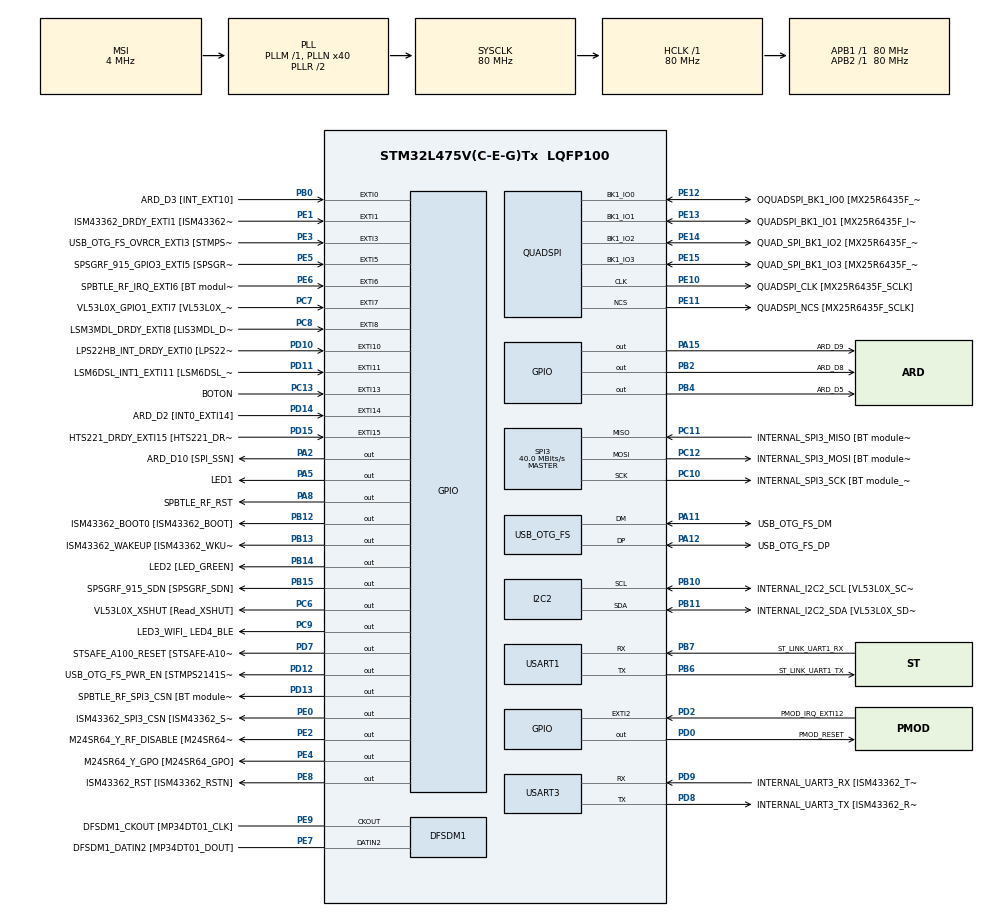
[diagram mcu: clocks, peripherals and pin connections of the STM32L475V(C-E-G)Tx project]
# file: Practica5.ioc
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FREERTOS.Queues01=print_queue,10,uintptr_t,0,Dynamic,NULL,NULL;receive_queue,3,uint8_t,0,Dynamic,NULL,NULL
FREERTOS.Tasks01=RTC_set,24,256,RTC_set_func,Default,NULL,Dynamic,NULL,NULL;readAccel,24,512,readAccel_func,Default,NULL,Dynamic,NULL,NULL;printTask,24,128,printTask_func,Default,NULL,Dynamic,NULL,NULL;tarea_UART,24,128,tarea_UART_func,Default,NULL,Dynamic,NULL,NULL;temporizador,24,128,temporizador_func,Default,NULL,Dynamic,NULL,NULL;sendMQTT,24,512,sendMQTT_func,Default,NULL,Dynamic,NULL,NULL;wifiStartTask,24,256,wifiStartTask_func,Default,NULL,Dynamic,NULL,NULL;temp_sub,24,128,temp_sub_func,Default,NULL,Dynamic,NULL,NULL
FREERTOS.configGENERATE_RUN_TIME_STATS=1
FREERTOS.configTOTAL_HEAP_SIZE=11000
FREERTOS.configUSE_NEWLIB_REENTRANT=1
FREERTOS.configUSE_STATS_FORMATTING_FUNCTIONS=1
Mcu.Family=STM32L4
Mcu.Name=STM32L475V(C-E-G)Tx
Mcu.Package=LQFP100
NVIC.EXTI15_10_IRQn=true\:5\:0\:false\:false\:true\:true\:true\:true\:true
NVIC.EXTI1_IRQn=true\:5\:0\:true\:false\:true\:false\:true\:true\:true
NVIC.EXTI9_5_IRQn=true\:5\:0\:false\:false\:true\:true\:true\:true\:true
NVIC.PriorityGroup=NVIC_PRIORITYGROUP_4
NVIC.SPI3_IRQn=true\:5\:0\:true\:false\:false\:false\:true\:true\:true
NVIC.TIM6_DAC_IRQn=true\:15\:0\:false\:false\:true\:false\:false\:true\:true
NVIC.TIM7_IRQn=true\:5\:0\:false\:false\:true\:true\:true\:true\:true
NVIC.TimeBase=TIM6_DAC_IRQn
NVIC.TimeBaseIP=TIM6
NVIC.USART1_IRQn=true\:5\:0\:false\:false\:true\:true\:true\:true\:true
PA0.GPIO_Label=ARD_D1 [UART4_TX]
PA0.Signal=UART4_TX
PA1.GPIO_Label=ARD_D0 [UART4_RX]
PA1.Signal=UART4_RX
PA10.GPIO_Label=USB_OTG_FS_ID
PA10.Signal=USB_OTG_FS_ID
PA11.GPIO_Label=USB_OTG_FS_DM
PA11.Mode=Device_Only
PA11.Signal=USB_OTG_FS_DM
PA12.GPIO_Label=USB_OTG_FS_DP
PA12.Mode=Device_Only
PA12.Signal=USB_OTG_FS_DP
PA13\ (JTMS-SWDIO).GPIO_Label=SYS_JTMS_SWDIO
PA13\ (JTMS-SWDIO).Mode=Trace_Asynchronous_SW
PA13\ (JTMS-SWDIO).Signal=SYS_JTMS-SWDIO
PA14\ (JTCK-SWCLK).GPIO_Label=SYS_JTCK_SWCLK
PA14\ (JTCK-SWCLK).Mode=Trace_Asynchronous_SW
PA14\ (JTCK-SWCLK).Signal=SYS_JTCK-SWCLK
PA15\ (JTDI).GPIO_Label=ARD_D9
PA15\ (JTDI).Signal=GPIO_Output
PA2.GPIO_Label=ARD_D10 [SPI_SSN]
PA2.Signal=GPIO_Output
PA3.GPIO_Label=ARD_D4
PA3.Signal=S_TIM2_CH4
PA4.GPIO_Label=ARD_D7
PA4.Signal=ADCx_IN9
PA5.GPIO_Label=LED1
PA5.Signal=GPIO_Output
PA6.GPIO_Label=ARD_D12 [SPI1_MISO]
PA6.Signal=SPI1_MISO
PA7.GPIO_Label=ARD_D11 [SPI1_MOSI]
PA7.Signal=SPI1_MOSI
PA8.GPIO_Label=SPBTLE_RF_RST
PA8.Signal=GPIO_Output
PA9.GPIO_Label=USB_OTG_FS_VBUS [STMPS2141STR_OUT]
PA9.Signal=USB_OTG_FS_VBUS
PB0.GPIO_Label=ARD_D3 [INT_EXT10]
PB0.Signal=GPXTI0
PB1.GPIO_Label=ARD_D6 [ADC1_IN6]
PB1.Signal=ADCx_IN16
PB10.GPIO_Label=INTERNAL_I2C2_SCL [VL53L0X_SCL]
PB10.GPIO_Pu=GPIO_PULLUP
PB10.Mode=I2C
PB10.Signal=I2C2_SCL
PB11.GPIO_Label=INTERNAL_I2C2_SDA [VL53L0X_SDA]
PB11.GPIO_Pu=GPIO_PULLUP
PB11.Mode=I2C
PB11.Signal=I2C2_SDA
PB12.GPIO_Label=ISM43362_BOOT0 [ISM43362_BOOT]
PB12.Signal=GPIO_Output
PB13.GPIO_Label=ISM43362_WAKEUP [ISM43362_WKUP]
PB13.Signal=GPIO_Output
PB14.GPIO_Label=LED2 [LED_GREEN]
PB14.Signal=GPIO_Output
PB15.GPIO_Label=SPSGRF_915_SDN [SPSGRF_SDN]
PB15.Signal=GPIO_Output
PB2.GPIO_Label=ARD_D8
PB2.Signal=GPIO_Output
PB3\ (JTDO-TRACESWO).GPIO_Label=SYS_JTD0_SWO
PB3\ (JTDO-TRACESWO).Mode=Trace_Asynchronous_SW
PB3\ (JTDO-TRACESWO).Signal=SYS_JTDO-SWO
PB4\ (NJTRST).GPIO_Label=ARD_D5
PB4\ (NJTRST).Signal=GPIO_Output
PB6.GPIO_Label=ST_LINK_UART1_TX
PB6.Mode=Asynchronous
PB6.Signal=USART1_TX
PB7.GPIO_Label=ST_LINK_UART1_RX
PB7.Mode=Asynchronous
PB7.Signal=USART1_RX
PB8.GPIO_Label=ARD_D15 [I2C1_SCL]
PB8.Signal=I2C1_SCL
PB9.GPIO_Label=ARD_D14 [I2C1_SDA]
PB9.Signal=I2C1_SDA
PC0.GPIO_Label=ARD_A5 [ADC]
PC0.Signal=ADCx_IN1
PC1.GPIO_Label=ARD_A4 [ADC]
PC1.Signal=ADCx_IN2
PC10.GPIO_Label=INTERNAL_SPI3_SCK [BT module_SPI_SCLK] [ISM43362_SCK]
PC10.Mode=Full_Duplex_Master
PC10.Signal=SPI3_SCK
PC11.GPIO_Label=INTERNAL_SPI3_MISO [BT module_SPI_MISO] [ISM43362_MISO]
PC11.Mode=Full_Duplex_Master
PC11.Signal=SPI3_MISO
PC12.GPIO_Label=INTERNAL_SPI3_MOSI [BT module_SPI_MOSI] [ISM43362_MOSI]
PC12.Mode=Full_Duplex_Master
PC12.Signal=SPI3_MOSI
PC13.GPIO_Label=BOTON
PC13.Signal=GPXTI13
PC14-OSC32_IN\ (PC14).Mode=LSE-External-Oscillator
PC14-OSC32_IN\ (PC14).Signal=RCC_OSC32_IN
PC15-OSC32_OUT\ (PC15).Mode=LSE-External-Oscillator
PC15-OSC32_OUT\ (PC15).Signal=RCC_OSC32_OUT
PC2.GPIO_Label=ARD_A3 [ADC]
PC2.Signal=ADCx_IN3
PC3.GPIO_Label=ARD_A2 [ADC]
PC3.Signal=ADCx_IN4
PC4.GPIO_Label=ARD_A1 [ADC]
PC4.Signal=ADCx_IN13
PC5.GPIO_Label=ARD_A0 [ADC]
PC5.Signal=ADCx_IN14
PC6.GPIO_Label=VL53L0X_XSHUT [Read_XSHUT]
PC6.Signal=GPIO_Output
PC7.GPIO_Label=VL53L0X_GPIO1_EXTI7 [VL53L0X_GPIO1]
PC7.Signal=GPXTI7
PC8.GPIO_Label=LSM3MDL_DRDY_EXTI8 [LIS3MDL_DRDY]
PC8.Signal=GPXTI8
PC9.GPIO_Label=LED3_WIFI_ LED4_BLE
PC9.Signal=GPIO_Output
PD0.GPIO_Label=PMOD_RESET
PD0.Signal=GPIO_Output
PD1.GPIO_Label=PMOD_SPI2_SCK
PD1.Signal=SPI2_SCK
PD10.GPIO_Label=LPS22HB_INT_DRDY_EXTI0 [LPS22HB_INT_DRDY] 
PD10.Signal=GPXTI10
PD11.GPIO_Label=LSM6DSL_INT1_EXTI11 [LSM6DSL_INT1]
PD11.Signal=GPXTI11
PD12.GPIO_Label=USB_OTG_FS_PWR_EN [STMPS2141STR_EN]
PD12.Signal=GPIO_Output
PD13.GPIO_Label=SPBTLE_RF_SPI3_CSN [BT module_SPI_CS]
PD13.PinState=GPIO_PIN_SET
PD13.Signal=GPIO_Output
PD14.GPIO_Label=ARD_D2 [INT0_EXTI14]
PD14.Signal=GPXTI14
PD15.GPIO_Label=HTS221_DRDY_EXTI15 [HTS221_DRDY]
PD15.Signal=GPXTI15
PD2.GPIO_Label=PMOD_IRQ_EXTI12
PD2.Signal=GPXTI2
PD3.GPIO_Label=PMOD_UART2_CTS
PD3.Signal=USART2_CTS
PD4.GPIO_Label=PMOD_UART2_RTS
PD4.Signal=USART2_RTS
PD5.GPIO_Label=PMOD_UART2_TX
PD5.Signal=USART2_TX
PD6.GPIO_Label=PMOD_UART2_RX
PD6.Signal=USART2_RX
PD7.GPIO_Label=STSAFE_A100_RESET [STSAFE-A100_RESET]
PD7.Signal=GPIO_Output
PD8.GPIO_Label=INTERNAL_UART3_TX [ISM43362_RX]
PD8.Mode=Asynchronous
PD8.Signal=USART3_TX
PD9.GPIO_Label=INTERNAL_UART3_RX [ISM43362_TX]
PD9.Mode=Asynchronous
PD9.Signal=USART3_RX
PE0.GPIO_Label=ISM43362_SPI3_CSN [ISM43362_SSN]
PE0.PinState=GPIO_PIN_SET
PE0.Signal=GPIO_Output
PE1.GPIO_Label=ISM43362_DRDY_EXTI1 [ISM43362_DATARDY]
PE1.Signal=GPXTI1
PE10.GPIO_Label=QUADSPI_CLK [MX25R6435F_SCLK]
PE10.Mode=Single Bank
PE10.Signal=QUADSPI_CLK
PE11.GPIO_Label=QUADSPI_NCS [MX25R6435F_SCLK]
PE11.Mode=Single Bank
PE11.Signal=QUADSPI_NCS
PE12.GPIO_Label=OQUADSPI_BK1_IO0 [MX25R6435F_IO0]
PE12.Mode=Single Bank
PE12.Signal=QUADSPI_BK1_IO0
PE13.GPIO_Label=QUADSPI_BK1_IO1 [MX25R6435F_IO1]
PE13.Mode=Single Bank
PE13.Signal=QUADSPI_BK1_IO1
PE14.GPIO_Label=QUAD_SPI_BK1_IO2 [MX25R6435F_IO2]
PE14.Mode=Single Bank
PE14.Signal=QUADSPI_BK1_IO2
PE15.GPIO_Label=QUAD_SPI_BK1_IO3 [MX25R6435F_IO3]
PE15.Mode=Single Bank
PE15.Signal=QUADSPI_BK1_IO3
PE2.GPIO_Label=M24SR64_Y_RF_DISABLE [M24SR64_RFDIS]
PE2.Signal=GPIO_Output
PE3.GPIO_Label=USB_OTG_FS_OVRCR_EXTI3 [STMPS2141STR_FAULT]
PE3.Signal=GPXTI3
PE4.GPIO_Label=M24SR64_Y_GPO [M24SR64_GPO]
PE4.Signal=GPIO_Output
PE5.GPIO_Label=SPSGRF_915_GPIO3_EXTI5 [SPSGRF_GPIO_3]
PE5.Signal=GPXTI5
PE6.GPIO_Label=SPBTLE_RF_IRQ_EXTI6 [BT module_SPI_IRQ]
PE6.Signal=GPXTI6
PE7.GPIO_Label=DFSDM1_DATIN2 [MP34DT01_DOUT]
PE7.Signal=S_DATAIN2DFSDM1
PE8.GPIO_Label=ISM43362_RST [ISM43362_RSTN]
PE8.Signal=GPIO_Output
PE9.GPIO_Label=DFSDM1_CKOUT [MP34DT01_CLK]
PE9.Signal=S_CKOUTDFSDM1
ProjectManager.HeapSize=0x200
ProjectManager.StackSize=0x400
ProjectManager.TargetToolchain=STM32CubeIDE
QUADSPI.ClockPrescaler=2
QUADSPI.FifoThreshold=4
QUADSPI.FlashSize=23
QUADSPI.SampleShifting=QSPI_SAMPLE_SHIFTING_HALFCYCLE
RCC.ADCFreq_Value=48000000
RCC.AHBFreq_Value=80000000
RCC.APB1Freq_Value=80000000
RCC.APB1TimFreq_Value=80000000
RCC.APB2Freq_Value=80000000
RCC.APB2TimFreq_Value=80000000
RCC.CortexFreq_Value=80000000
RCC.HCLKFreq_Value=80000000
RCC.HSE_VALUE=8000000
RCC.HSI_VALUE=16000000
RCC.MSI_VALUE=4000000
RCC.PLLN=40
RCC.PLLSAI1N=24
RCC.SYSCLKFreq_VALUE=80000000
RCC.SYSCLKSource=RCC_SYSCLKSOURCE_PLLCLK
RCC.USBFreq_Value=48000000
RCC.VCOOutputFreq_Value=160000000
RTC.Format=RTC_FORMAT_BIN
RTC.Hours=13
RTC.Minutes=1
SH.ADCx_IN1.0=ADC1_IN1
SH.ADCx_IN13.0=ADC1_IN13
SH.ADCx_IN14.0=ADC1_IN14
SH.ADCx_IN16.0=ADC1_IN16
SH.ADCx_IN2.0=ADC1_IN2
SH.ADCx_IN3.0=ADC1_IN3
SH.ADCx_IN4.0=ADC1_IN4
SH.ADCx_IN9.0=ADC1_IN9
SH.S_CKOUTDFSDM1.0=DFSDM1_CKOUT,CKOUT
SH.S_CKOUTDFSDM1.1=DFSDM1_CKOUT,PDM_SPI_Input_from_ch12_and_Internal_Clock
SH.S_DATAIN2DFSDM1.0=DFSDM1_DATIN2,PDM_SPI_Input_from_ch12_and_Internal_Clock
SH.S_TIM2_CH4.0=TIM2_CH4
SPI3.CalculateBaudRate=40.0 MBits/s
SPI3.Direction=SPI_DIRECTION_2LINES
SPI3.Mode=SPI_MODE_MASTER
SPI3.VirtualType=VM_MASTER
TIM7.Period=799
USART1.VirtualMode-Asynchronous=VM_ASYNC
USART3.VirtualMode-Asynchronous=VM_ASYNC
USB_OTG_FS.VirtualMode=Device_Only
VP_FREERTOS_VS_CMSIS_V2.Mode=CMSIS_V2
VP_RTC_VS_RTC_Activate.Mode=RTC_Enabled
VP_RTC_VS_RTC_Calendar.Mode=RTC_Calendar
VP_SYS_VS_tim6.Mode=TIM6
VP_TIM7_VS_ClockSourceINT.Mode=Enable_Timer
board=B-L475E-IOT01A2

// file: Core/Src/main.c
/* USER CODE BEGIN Header */
/**
  ******************************************************************************
  * @file           : main.c
  * @brief          : Main program body
  ******************************************************************************
  * @attention
  *
  * Copyright (c) 2022 STMicroelectronics.
  * All rights reserved.
  *
  * This software is licensed under terms that can be found in the LICENSE file
  * in the root directory of this software component.
  * If no LICENSE file comes with this software, it is provided AS-IS.
  *
  ******************************************************************************
  */
/* USER CODE END Header */
#include "main.h"
#include "cmsis_os.h"

/* USER CODE BEGIN Includes */
#include <stdio.h>
#include <stdbool.h>
#include "stm32l475e_iot01.h"
#include <math.h>
#include <string.h>
#include "stm32l475e_iot01_accelero.h"

#include "es_wifi.h"
#include "wifi.h"

#include "core_mqtt.h"
#include "mqtt_priv.h"
#include "timers.h"

/* USER CODE END Includes */

/* USER CODE BEGIN PM */
#define MODO_NORMAL 0x0001U
#define MODO_CONTINUO 0x0002U
#define TIMER_MQTT 0x0004U

#define MUESTRAS_NORMAL 64
#define MUESTRAS_CONTINUO 1024

#define SSID     "DIGIFIBRA-HAeH"
#define PASSWORD "uxHXKubx5D"
#define WIFISECURITY WIFI_ECN_WPA2_PSK
//#define WIFISECURITY WIFI_ECN_OPEN
#define SOCKET 0
#define SOCKETSUBS 1
#define WIFI_READ_TIMEOUT 10000
#define WIFI_WRITE_TIMEOUT 0
/* USER CODE END PM */

DFSDM_Channel_HandleTypeDef hdfsdm1_channel1;

I2C_HandleTypeDef hi2c2;

QSPI_HandleTypeDef hqspi;

RTC_HandleTypeDef hrtc;

SPI_HandleTypeDef hspi3;

TIM_HandleTypeDef htim7;

UART_HandleTypeDef huart1;
UART_HandleTypeDef huart3;

PCD_HandleTypeDef hpcd_USB_OTG_FS;

/* Definitions for RTC_set */
osThreadId_t RTC_setHandle;
const osThreadAttr_t RTC_set_attributes = {
  .name = "RTC_set",
  .stack_size = 256 * 4,
  .priority = (osPriority_t) osPriorityNormal,
};
/* Definitions for readAccel */
osThreadId_t readAccelHandle;
const osThreadAttr_t readAccel_attributes = {
  .name = "readAccel",
  .stack_size = 512 * 4,
  .priority = (osPriority_t) osPriorityNormal,
};
/* Definitions for printTask */
osThreadId_t printTaskHandle;
const osThreadAttr_t printTask_attributes = {
  .name = "printTask",
  .stack_size = 128 * 4,
  .priority = (osPriority_t) osPriorityNormal,
};
/* Definitions for tarea_UART */
osThreadId_t tarea_UARTHandle;
const osThreadAttr_t tarea_UART_attributes = {
  .name = "tarea_UART",
  .stack_size = 128 * 4,
  .priority = (osPriority_t) osPriorityNormal,
};
/* Definitions for temporizador */
osThreadId_t temporizadorHandle;
const osThreadAttr_t temporizador_attributes = {
  .name = "temporizador",
  .stack_size = 128 * 4,
  .priority = (osPriority_t) osPriorityNormal,
};
/* Definitions for sendMQTT */
osThreadId_t sendMQTTHandle;
const osThreadAttr_t sendMQTT_attributes = {
  .name = "sendMQTT",
  .stack_size = 512 * 4,
  .priority = (osPriority_t) osPriorityNormal,
};
/* Definitions for wifiStartTask */
osThreadId_t wifiStartTaskHandle;
const osThreadAttr_t wifiStartTask_attributes = {
  .name = "wifiStartTask",
  .stack_size = 256 * 4,
  .priority = (osPriority_t) osPriorityNormal,
};
/* Definitions for temp_sub */
osThreadId_t temp_subHandle;
const osThreadAttr_t temp_sub_attributes = {
  .name = "temp_sub",
  .stack_size = 128 * 4,
  .priority = (osPriority_t) osPriorityNormal,
};
/* Definitions for print_queue */
osMessageQueueId_t print_queueHandle;
const osMessageQueueAttr_t print_queue_attributes = {
  .name = "print_queue"
};
/* Definitions for receive_queue */
osMessageQueueId_t receive_queueHandle;
const osMessageQueueAttr_t receive_queue_attributes = {
  .name = "receive_queue"
};
/* USER CODE BEGIN PV */
RTC_DateTypeDef GetDate; //Estructura para fijar/leer fecha
RTC_TimeTypeDef GetTime; //Estructura para fijar/leer hora

ACCELERO_StatusTypeDef status_acc;

volatile extern bool modo_continuo;

extern  SPI_HandleTypeDef hspi;
static  uint8_t  IP_Addr[4];

/* USER CODE END PV */

void SystemClock_Config(void);
static void MX_GPIO_Init(void);
static void MX_DFSDM1_Init(void);
static void MX_I2C2_Init(void);
static void MX_QUADSPI_Init(void);
static void MX_SPI3_Init(void);
static void MX_USART1_UART_Init(void);
static void MX_USART3_UART_Init(void);
static void MX_USB_OTG_FS_PCD_Init(void);
static void MX_TIM7_Init(void);
static void MX_RTC_Init(void);
void RTC_set_func(void *argument);
void readAccel_func(void *argument);
void printTask_func(void *argument);
void tarea_UART_func(void *argument);
void temporizador_func(void *argument);
void sendMQTT_func(void *argument);
void wifiStartTask_func(void *argument);
void temp_sub_func(void *argument);

/* USER CODE BEGIN PFP */
volatile unsigned long ulHighFrequencyTimerTicks;
void configureTimerForRunTimeStats(void) {
	ulHighFrequencyTimerTicks = 0;
	HAL_TIM_Base_Start_IT(&htim7);
}
unsigned long getRunTimeCounterValue(void) {
	return ulHighFrequencyTimerTicks;

}

ACCELERO_StatusTypeDef BSP_ACCELERO_Init_INT(void);

/* USER CODE END PFP */

/* USER CODE BEGIN 0 */
uint8_t rec_data;
/* USER CODE END 0 */

int main(void)
{

  /* MCU Configuration--------------------------------------------------------*/

  /* Reset of all peripherals, Initializes the Flash interface and the Systick. */
  HAL_Init();

  /* Configure the system clock */
  SystemClock_Config();

  /* Initialize all configured peripherals */
  MX_GPIO_Init();
  MX_DFSDM1_Init();
  MX_I2C2_Init();
  MX_QUADSPI_Init();
  MX_SPI3_Init();
  MX_USART1_UART_Init();
  MX_USART3_UART_Init();
  MX_USB_OTG_FS_PCD_Init();
  MX_TIM7_Init();
  MX_RTC_Init();
  /* USER CODE BEGIN 2 */
  status_acc = BSP_ACCELERO_Init_INT();
  if (status_acc == ACCELERO_OK){
	  printf("Acelerometro inicializado\r\n");
  }

  /* USER CODE END 2 */

  /* Init scheduler */
  osKernelInitialize();

  /* Create the queue(s) */
  /* creation of print_queue */
  print_queueHandle = osMessageQueueNew (10, sizeof(uintptr_t), &print_queue_attributes);

  /* creation of receive_queue */
  receive_queueHandle = osMessageQueueNew (3, sizeof(uint8_t), &receive_queue_attributes);

  /* Create the thread(s) */
  /* creation of RTC_set */
  RTC_setHandle = osThreadNew(RTC_set_func, NULL, &RTC_set_attributes);

  /* creation of readAccel */
  readAccelHandle = osThreadNew(readAccel_func, NULL, &readAccel_attributes);

  /* creation of printTask */
  printTaskHandle = osThreadNew(printTask_func, NULL, &printTask_attributes);

  /* creation of tarea_UART */
  tarea_UARTHandle = osThreadNew(tarea_UART_func, NULL, &tarea_UART_attributes);

  /* creation of temporizador */
  temporizadorHandle = osThreadNew(temporizador_func, NULL, &temporizador_attributes);

  /* creation of sendMQTT */
  sendMQTTHandle = osThreadNew(sendMQTT_func, NULL, &sendMQTT_attributes);

  /* creation of wifiStartTask */
  wifiStartTaskHandle = osThreadNew(wifiStartTask_func, NULL, &wifiStartTask_attributes);

  /* creation of temp_sub */
  temp_subHandle = osThreadNew(temp_sub_func, NULL, &temp_sub_attributes);

  /* USER CODE BEGIN RTOS_THREADS */
  /* add threads, ... */
  HAL_UART_Receive_IT(&huart1,&rec_data,1);
  /* USER CODE END RTOS_THREADS */

  /* Start scheduler */
  osKernelStart();

  /* We should never get here as control is now taken by the scheduler */
  /* Infinite loop */
  while (1)
  {

  }
}

void SystemClock_Config(void)
{
  RCC_OscInitTypeDef RCC_OscInitStruct = {0};
  RCC_ClkInitTypeDef RCC_ClkInitStruct = {0};

  /** Configure the main internal regulator output voltage
  */
  if (HAL_PWREx_ControlVoltageScaling(PWR_REGULATOR_VOLTAGE_SCALE1) != HAL_OK)
  {
    Error_Handler();
  }

  /** Configure LSE Drive Capability
  */
  HAL_PWR_EnableBkUpAccess();
  __HAL_RCC_LSEDRIVE_CONFIG(RCC_LSEDRIVE_LOW);

  /** Initializes the RCC Oscillators according to the specified parameters
  * in the RCC_OscInitTypeDef structure.
  */
  RCC_OscInitStruct.OscillatorType = RCC_OSCILLATORTYPE_LSI|RCC_OSCILLATORTYPE_LSE
                              |RCC_OSCILLATORTYPE_MSI;
  RCC_OscInitStruct.LSEState = RCC_LSE_ON;
  RCC_OscInitStruct.LSIState = RCC_LSI_ON;
  RCC_OscInitStruct.MSIState = RCC_MSI_ON;
  RCC_OscInitStruct.MSICalibrationValue = 0;
  RCC_OscInitStruct.MSIClockRange = RCC_MSIRANGE_6;
  RCC_OscInitStruct.PLL.PLLState = RCC_PLL_ON;
  RCC_OscInitStruct.PLL.PLLSource = RCC_PLLSOURCE_MSI;
  RCC_OscInitStruct.PLL.PLLM = 1;
  RCC_OscInitStruct.PLL.PLLN = 40;
  RCC_OscInitStruct.PLL.PLLP = RCC_PLLP_DIV7;
  RCC_OscInitStruct.PLL.PLLQ = RCC_PLLQ_DIV2;
  RCC_OscInitStruct.PLL.PLLR = RCC_PLLR_DIV2;
  if (HAL_RCC_OscConfig(&RCC_OscInitStruct) != HAL_OK)
  {
    Error_Handler();
  }

  /** Initializes the CPU, AHB and APB buses clocks
  */
  RCC_ClkInitStruct.ClockType = RCC_CLOCKTYPE_HCLK|RCC_CLOCKTYPE_SYSCLK
                              |RCC_CLOCKTYPE_PCLK1|RCC_CLOCKTYPE_PCLK2;
  RCC_ClkInitStruct.SYSCLKSource = RCC_SYSCLKSOURCE_PLLCLK;
  RCC_ClkInitStruct.AHBCLKDivider = RCC_SYSCLK_DIV1;
  RCC_ClkInitStruct.APB1CLKDivider = RCC_HCLK_DIV1;
  RCC_ClkInitStruct.APB2CLKDivider = RCC_HCLK_DIV1;

  if (HAL_RCC_ClockConfig(&RCC_ClkInitStruct, FLASH_LATENCY_4) != HAL_OK)
  {
    Error_Handler();
  }

  /** Enable MSI Auto calibration
  */
  HAL_RCCEx_EnableMSIPLLMode();
}

static void MX_DFSDM1_Init(void)
{

  hdfsdm1_channel1.Instance = DFSDM1_Channel1;
  hdfsdm1_channel1.Init.OutputClock.Activation = ENABLE;
  hdfsdm1_channel1.Init.OutputClock.Selection = DFSDM_CHANNEL_OUTPUT_CLOCK_SYSTEM;
  hdfsdm1_channel1.Init.OutputClock.Divider = 2;
  hdfsdm1_channel1.Init.Input.Multiplexer = DFSDM_CHANNEL_EXTERNAL_INPUTS;
  hdfsdm1_channel1.Init.Input.DataPacking = DFSDM_CHANNEL_STANDARD_MODE;
  hdfsdm1_channel1.Init.Input.Pins = DFSDM_CHANNEL_FOLLOWING_CHANNEL_PINS;
  hdfsdm1_channel1.Init.SerialInterface.Type = DFSDM_CHANNEL_SPI_RISING;
  hdfsdm1_channel1.Init.SerialInterface.SpiClock = DFSDM_CHANNEL_SPI_CLOCK_INTERNAL;
  hdfsdm1_channel1.Init.Awd.FilterOrder = DFSDM_CHANNEL_FASTSINC_ORDER;
  hdfsdm1_channel1.Init.Awd.Oversampling = 1;
  hdfsdm1_channel1.Init.Offset = 0;
  hdfsdm1_channel1.Init.RightBitShift = 0x00;
  if (HAL_DFSDM_ChannelInit(&hdfsdm1_channel1) != HAL_OK)
  {
    Error_Handler();
  }

}

static void MX_I2C2_Init(void)
{

  hi2c2.Instance = I2C2;
  hi2c2.Init.Timing = 0x00000E14;
  hi2c2.Init.OwnAddress1 = 0;
  hi2c2.Init.AddressingMode = I2C_ADDRESSINGMODE_7BIT;
  hi2c2.Init.DualAddressMode = I2C_DUALADDRESS_DISABLE;
  hi2c2.Init.OwnAddress2 = 0;
  hi2c2.Init.OwnAddress2Masks = I2C_OA2_NOMASK;
  hi2c2.Init.GeneralCallMode = I2C_GENERALCALL_DISABLE;
  hi2c2.Init.NoStretchMode = I2C_NOSTRETCH_DISABLE;
  if (HAL_I2C_Init(&hi2c2) != HAL_OK)
  {
    Error_Handler();
  }

  /** Configure Analogue filter
  */
  if (HAL_I2CEx_ConfigAnalogFilter(&hi2c2, I2C_ANALOGFILTER_ENABLE) != HAL_OK)
  {
    Error_Handler();
  }

  /** Configure Digital filter
  */
  if (HAL_I2CEx_ConfigDigitalFilter(&hi2c2, 0) != HAL_OK)
  {
    Error_Handler();
  }

}

static void MX_QUADSPI_Init(void)
{

  /* QUADSPI parameter configuration*/
  hqspi.Instance = QUADSPI;
  hqspi.Init.ClockPrescaler = 2;
  hqspi.Init.FifoThreshold = 4;
  hqspi.Init.SampleShifting = QSPI_SAMPLE_SHIFTING_HALFCYCLE;
  hqspi.Init.FlashSize = 23;
  hqspi.Init.ChipSelectHighTime = QSPI_CS_HIGH_TIME_1_CYCLE;
  hqspi.Init.ClockMode = QSPI_CLOCK_MODE_0;
  if (HAL_QSPI_Init(&hqspi) != HAL_OK)
  {
    Error_Handler();
  }

}

static void MX_RTC_Init(void)
{

  RTC_TimeTypeDef sTime = {0};
  RTC_DateTypeDef sDate = {0};

  /** Initialize RTC Only
  */
  hrtc.Instance = RTC;
  hrtc.Init.HourFormat = RTC_HOURFORMAT_24;
  hrtc.Init.AsynchPrediv = 127;
  hrtc.Init.SynchPrediv = 255;
  hrtc.Init.OutPut = RTC_OUTPUT_DISABLE;
  hrtc.Init.OutPutRemap = RTC_OUTPUT_REMAP_NONE;
  hrtc.Init.OutPutPolarity = RTC_OUTPUT_POLARITY_HIGH;
  hrtc.Init.OutPutType = RTC_OUTPUT_TYPE_OPENDRAIN;
  if (HAL_RTC_Init(&hrtc) != HAL_OK)
  {
    Error_Handler();
  }

  /** Initialize RTC and set the Time and Date
  */
  sTime.Hours = 13;
  sTime.Minutes = 1;
  sTime.Seconds = 0;
  sTime.DayLightSaving = RTC_DAYLIGHTSAVING_NONE;
  sTime.StoreOperation = RTC_STOREOPERATION_RESET;
  if (HAL_RTC_SetTime(&hrtc, &sTime, RTC_FORMAT_BIN) != HAL_OK)
  {
    Error_Handler();
  }
  sDate.WeekDay = RTC_WEEKDAY_MONDAY;
  sDate.Month = RTC_MONTH_JANUARY;
  sDate.Date = 1;
  sDate.Year = 0;

  if (HAL_RTC_SetDate(&hrtc, &sDate, RTC_FORMAT_BIN) != HAL_OK)
  {
    Error_Handler();
  }

}

static void MX_SPI3_Init(void)
{

  /* SPI3 parameter configuration*/
  hspi3.Instance = SPI3;
  hspi3.Init.Mode = SPI_MODE_MASTER;
  hspi3.Init.Direction = SPI_DIRECTION_2LINES;
  hspi3.Init.DataSize = SPI_DATASIZE_4BIT;
  hspi3.Init.CLKPolarity = SPI_POLARITY_LOW;
  hspi3.Init.CLKPhase = SPI_PHASE_1EDGE;
  hspi3.Init.NSS = SPI_NSS_SOFT;
  hspi3.Init.BaudRatePrescaler = SPI_BAUDRATEPRESCALER_2;
  hspi3.Init.FirstBit = SPI_FIRSTBIT_MSB;
  hspi3.Init.TIMode = SPI_TIMODE_DISABLE;
  hspi3.Init.CRCCalculation = SPI_CRCCALCULATION_DISABLE;
  hspi3.Init.CRCPolynomial = 7;
  hspi3.Init.CRCLength = SPI_CRC_LENGTH_DATASIZE;
  hspi3.Init.NSSPMode = SPI_NSS_PULSE_ENABLE;
  if (HAL_SPI_Init(&hspi3) != HAL_OK)
  {
    Error_Handler();
  }

}

static void MX_TIM7_Init(void)
{

  TIM_MasterConfigTypeDef sMasterConfig = {0};

  htim7.Instance = TIM7;
  htim7.Init.Prescaler = 0;
  htim7.Init.CounterMode = TIM_COUNTERMODE_UP;
  htim7.Init.Period = 799;
  htim7.Init.AutoReloadPreload = TIM_AUTORELOAD_PRELOAD_DISABLE;
  if (HAL_TIM_Base_Init(&htim7) != HAL_OK)
  {
    Error_Handler();
  }
  sMasterConfig.MasterOutputTrigger = TIM_TRGO_RESET;
  sMasterConfig.MasterSlaveMode = TIM_MASTERSLAVEMODE_DISABLE;
  if (HAL_TIMEx_MasterConfigSynchronization(&htim7, &sMasterConfig) != HAL_OK)
  {
    Error_Handler();
  }

}

static void MX_USART1_UART_Init(void)
{

  huart1.Instance = USART1;
  huart1.Init.BaudRate = 115200;
  huart1.Init.WordLength = UART_WORDLENGTH_8B;
  huart1.Init.StopBits = UART_STOPBITS_1;
  huart1.Init.Parity = UART_PARITY_NONE;
  huart1.Init.Mode = UART_MODE_TX_RX;
  huart1.Init.HwFlowCtl = UART_HWCONTROL_NONE;
  huart1.Init.OverSampling = UART_OVERSAMPLING_16;
  huart1.Init.OneBitSampling = UART_ONE_BIT_SAMPLE_DISABLE;
  huart1.AdvancedInit.AdvFeatureInit = UART_ADVFEATURE_NO_INIT;
  if (HAL_UART_Init(&huart1) != HAL_OK)
  {
    Error_Handler();
  }

}

static void MX_USART3_UART_Init(void)
{

  huart3.Instance = USART3;
  huart3.Init.BaudRate = 115200;
  huart3.Init.WordLength = UART_WORDLENGTH_8B;
  huart3.Init.StopBits = UART_STOPBITS_1;
  huart3.Init.Parity = UART_PARITY_NONE;
  huart3.Init.Mode = UART_MODE_TX_RX;
  huart3.Init.HwFlowCtl = UART_HWCONTROL_NONE;
  huart3.Init.OverSampling = UART_OVERSAMPLING_16;
  huart3.Init.OneBitSampling = UART_ONE_BIT_SAMPLE_DISABLE;
  huart3.AdvancedInit.AdvFeatureInit = UART_ADVFEATURE_NO_INIT;
  if (HAL_UART_Init(&huart3) != HAL_OK)
  {
    Error_Handler();
  }

}

static void MX_USB_OTG_FS_PCD_Init(void)
{

  hpcd_USB_OTG_FS.Instance = USB_OTG_FS;
  hpcd_USB_OTG_FS.Init.dev_endpoints = 6;
  hpcd_USB_OTG_FS.Init.speed = PCD_SPEED_FULL;
  hpcd_USB_OTG_FS.Init.phy_itface = PCD_PHY_EMBEDDED;
  hpcd_USB_OTG_FS.Init.Sof_enable = DISABLE;
  hpcd_USB_OTG_FS.Init.low_power_enable = DISABLE;
  hpcd_USB_OTG_FS.Init.lpm_enable = DISABLE;
  hpcd_USB_OTG_FS.Init.battery_charging_enable = DISABLE;
  hpcd_USB_OTG_FS.Init.use_dedicated_ep1 = DISABLE;
  hpcd_USB_OTG_FS.Init.vbus_sensing_enable = DISABLE;
  if (HAL_PCD_Init(&hpcd_USB_OTG_FS) != HAL_OK)
  {
    Error_Handler();
  }

}

static void MX_GPIO_Init(void)
{
  GPIO_InitTypeDef GPIO_InitStruct = {0};

  /* GPIO Ports Clock Enable */
  __HAL_RCC_GPIOE_CLK_ENABLE();
  __HAL_RCC_GPIOC_CLK_ENABLE();
  __HAL_RCC_GPIOA_CLK_ENABLE();
  __HAL_RCC_GPIOB_CLK_ENABLE();
  __HAL_RCC_GPIOD_CLK_ENABLE();

  /*Configure GPIO pin Output Level */
  HAL_GPIO_WritePin(GPIOE, M24SR64_Y_RF_DISABLE_Pin|M24SR64_Y_GPO_Pin|ISM43362_RST_Pin, GPIO_PIN_RESET);

  /*Configure GPIO pin Output Level */
  HAL_GPIO_WritePin(GPIOA, ARD_D10_Pin|LED1_Pin|SPBTLE_RF_RST_Pin|ARD_D9_Pin, GPIO_PIN_RESET);

  /*Configure GPIO pin Output Level */
  HAL_GPIO_WritePin(GPIOB, ARD_D8_Pin|ISM43362_BOOT0_Pin|ISM43362_WAKEUP_Pin|LED2_Pin
                          |SPSGRF_915_SDN_Pin|ARD_D5_Pin, GPIO_PIN_RESET);

  /*Configure GPIO pin Output Level */
  HAL_GPIO_WritePin(GPIOD, USB_OTG_FS_PWR_EN_Pin|PMOD_RESET_Pin|STSAFE_A100_RESET_Pin, GPIO_PIN_RESET);

  /*Configure GPIO pin Output Level */
  HAL_GPIO_WritePin(SPBTLE_RF_SPI3_CSN_GPIO_Port, SPBTLE_RF_SPI3_CSN_Pin, GPIO_PIN_SET);

  /*Configure GPIO pin Output Level */
  HAL_GPIO_WritePin(GPIOC, VL53L0X_XSHUT_Pin|LED3_WIFI__LED4_BLE_Pin, GPIO_PIN_RESET);

  /*Configure GPIO pin Output Level */
  HAL_GPIO_WritePin(ISM43362_SPI3_CSN_GPIO_Port, ISM43362_SPI3_CSN_Pin, GPIO_PIN_SET);

  /*Configure GPIO pins : M24SR64_Y_RF_DISABLE_Pin M24SR64_Y_GPO_Pin ISM43362_RST_Pin ISM43362_SPI3_CSN_Pin */
  GPIO_InitStruct.Pin = M24SR64_Y_RF_DISABLE_Pin|M24SR64_Y_GPO_Pin|ISM43362_RST_Pin|ISM43362_SPI3_CSN_Pin;
  GPIO_InitStruct.Mode = GPIO_MODE_OUTPUT_PP;
  GPIO_InitStruct.Pull = GPIO_NOPULL;
  GPIO_InitStruct.Speed = GPIO_SPEED_FREQ_LOW;
  HAL_GPIO_Init(GPIOE, &GPIO_InitStruct);

  /*Configure GPIO pins : USB_OTG_FS_OVRCR_EXTI3_Pin SPSGRF_915_GPIO3_EXTI5_Pin SPBTLE_RF_IRQ_EXTI6_Pin ISM43362_DRDY_EXTI1_Pin */
  GPIO_InitStruct.Pin = USB_OTG_FS_OVRCR_EXTI3_Pin|SPSGRF_915_GPIO3_EXTI5_Pin|SPBTLE_RF_IRQ_EXTI6_Pin|ISM43362_DRDY_EXTI1_Pin;
  GPIO_InitStruct.Mode = GPIO_MODE_IT_RISING;
  GPIO_InitStruct.Pull = GPIO_NOPULL;
  HAL_GPIO_Init(GPIOE, &GPIO_InitStruct);

  /*Configure GPIO pins : BOTON_Pin VL53L0X_GPIO1_EXTI7_Pin LSM3MDL_DRDY_EXTI8_Pin */
  GPIO_InitStruct.Pin = BOTON_Pin|VL53L0X_GPIO1_EXTI7_Pin|LSM3MDL_DRDY_EXTI8_Pin;
  GPIO_InitStruct.Mode = GPIO_MODE_IT_RISING;
  GPIO_InitStruct.Pull = GPIO_NOPULL;
  HAL_GPIO_Init(GPIOC, &GPIO_InitStruct);

  /*Configure GPIO pins : ARD_A5_Pin ARD_A4_Pin ARD_A3_Pin ARD_A2_Pin
                           ARD_A1_Pin ARD_A0_Pin */
  GPIO_InitStruct.Pin = ARD_A5_Pin|ARD_A4_Pin|ARD_A3_Pin|ARD_A2_Pin
                          |ARD_A1_Pin|ARD_A0_Pin;
  GPIO_InitStruct.Mode = GPIO_MODE_ANALOG_ADC_CONTROL;
  GPIO_InitStruct.Pull = GPIO_NOPULL;
  HAL_GPIO_Init(GPIOC, &GPIO_InitStruct);

  /*Configure GPIO pins : ARD_D1_Pin ARD_D0_Pin */
  GPIO_InitStruct.Pin = ARD_D1_Pin|ARD_D0_Pin;
  GPIO_InitStruct.Mode = GPIO_MODE_AF_PP;
  GPIO_InitStruct.Pull = GPIO_NOPULL;
  GPIO_InitStruct.Speed = GPIO_SPEED_FREQ_VERY_HIGH;
  GPIO_InitStruct.Alternate = GPIO_AF8_UART4;
  HAL_GPIO_Init(GPIOA, &GPIO_InitStruct);

  /*Configure GPIO pins : ARD_D10_Pin LED1_Pin SPBTLE_RF_RST_Pin ARD_D9_Pin */
  GPIO_InitStruct.Pin = ARD_D10_Pin|LED1_Pin|SPBTLE_RF_RST_Pin|ARD_D9_Pin;
  GPIO_InitStruct.Mode = GPIO_MODE_OUTPUT_PP;
  GPIO_InitStruct.Pull = GPIO_NOPULL;
  GPIO_InitStruct.Speed = GPIO_SPEED_FREQ_LOW;
  HAL_GPIO_Init(GPIOA, &GPIO_InitStruct);

  /*Configure GPIO pin : ARD_D4_Pin */
  GPIO_InitStruct.Pin = ARD_D4_Pin;
  GPIO_InitStruct.Mode = GPIO_MODE_AF_PP;
  GPIO_InitStruct.Pull = GPIO_NOPULL;
  GPIO_InitStruct.Speed = GPIO_SPEED_FREQ_LOW;
  GPIO_InitStruct.Alternate = GPIO_AF1_TIM2;
  HAL_GPIO_Init(ARD_D4_GPIO_Port, &GPIO_InitStruct);

  /*Configure GPIO pin : ARD_D7_Pin */
  GPIO_InitStruct.Pin = ARD_D7_Pin;
  GPIO_InitStruct.Mode = GPIO_MODE_ANALOG_ADC_CONTROL;
  GPIO_InitStruct.Pull = GPIO_NOPULL;
  HAL_GPIO_Init(ARD_D7_GPIO_Port, &GPIO_InitStruct);

  /*Configure GPIO pins : ARD_D12_Pin ARD_D11_Pin */
  GPIO_InitStruct.Pin = ARD_D12_Pin|ARD_D11_Pin;
  GPIO_InitStruct.Mode = GPIO_MODE_AF_PP;
  GPIO_InitStruct.Pull = GPIO_NOPULL;
  GPIO_InitStruct.Speed = GPIO_SPEED_FREQ_VERY_HIGH;
  GPIO_InitStruct.Alternate = GPIO_AF5_SPI1;
  HAL_GPIO_Init(GPIOA, &GPIO_InitStruct);

  /*Configure GPIO pin : ARD_D3_Pin */
  GPIO_InitStruct.Pin = ARD_D3_Pin;
  GPIO_InitStruct.Mode = GPIO_MODE_IT_RISING;
  GPIO_InitStruct.Pull = GPIO_NOPULL;
  HAL_GPIO_Init(ARD_D3_GPIO_Port, &GPIO_InitStruct);

  /*Configure GPIO pin : ARD_D6_Pin */
  GPIO_InitStruct.Pin = ARD_D6_Pin;
  GPIO_InitStruct.Mode = GPIO_MODE_ANALOG_ADC_CONTROL;
  GPIO_InitStruct.Pull = GPIO_NOPULL;
  HAL_GPIO_Init(ARD_D6_GPIO_Port, &GPIO_InitStruct);

  /*Configure GPIO pins : ARD_D8_Pin ISM43362_BOOT0_Pin ISM43362_WAKEUP_Pin LED2_Pin
                           SPSGRF_915_SDN_Pin ARD_D5_Pin */
  GPIO_InitStruct.Pin = ARD_D8_Pin|ISM43362_BOOT0_Pin|ISM43362_WAKEUP_Pin|LED2_Pin
                          |SPSGRF_915_SDN_Pin|ARD_D5_Pin;
  GPIO_InitStruct.Mode = GPIO_MODE_OUTPUT_PP;
  GPIO_InitStruct.Pull = GPIO_NOPULL;
  GPIO_InitStruct.Speed = GPIO_SPEED_FREQ_LOW;
  HAL_GPIO_Init(GPIOB, &GPIO_InitStruct);

  /*Configure GPIO pins : LPS22HB_INT_DRDY_EXTI0_Pin LSM6DSL_INT1_EXTI11_Pin ARD_D2_Pin HTS221_DRDY_EXTI15_Pin
                           PMOD_IRQ_EXTI12_Pin */
  GPIO_InitStruct.Pin = LPS22HB_INT_DRDY_EXTI0_Pin|LSM6DSL_INT1_EXTI11_Pin|ARD_D2_Pin|HTS221_DRDY_EXTI15_Pin
                          |PMOD_IRQ_EXTI12_Pin;
  GPIO_InitStruct.Mode = GPIO_MODE_IT_RISING;
  GPIO_InitStruct.Pull = GPIO_NOPULL;
  HAL_GPIO_Init(GPIOD, &GPIO_InitStruct);

  /*Configure GPIO pins : USB_OTG_FS_PWR_EN_Pin SPBTLE_RF_SPI3_CSN_Pin PMOD_RESET_Pin STSAFE_A100_RESET_Pin */
  GPIO_InitStruct.Pin = USB_OTG_FS_PWR_EN_Pin|SPBTLE_RF_SPI3_CSN_Pin|PMOD_RESET_Pin|STSAFE_A100_RESET_Pin;
  GPIO_InitStruct.Mode = GPIO_MODE_OUTPUT_PP;
  GPIO_InitStruct.Pull = GPIO_NOPULL;
  GPIO_InitStruct.Speed = GPIO_SPEED_FREQ_LOW;
  HAL_GPIO_Init(GPIOD, &GPIO_InitStruct);

  /*Configure GPIO pins : VL53L0X_XSHUT_Pin LED3_WIFI__LED4_BLE_Pin */
  GPIO_InitStruct.Pin = VL53L0X_XSHUT_Pin|LED3_WIFI__LED4_BLE_Pin;
  GPIO_InitStruct.Mode = GPIO_MODE_OUTPUT_PP;
  GPIO_InitStruct.Pull = GPIO_NOPULL;
  GPIO_InitStruct.Speed = GPIO_SPEED_FREQ_LOW;
  HAL_GPIO_Init(GPIOC, &GPIO_InitStruct);

  /*Configure GPIO pin : PMOD_SPI2_SCK_Pin */
  GPIO_InitStruct.Pin = PMOD_SPI2_SCK_Pin;
  GPIO_InitStruct.Mode = GPIO_MODE_AF_PP;
  GPIO_InitStruct.Pull = GPIO_NOPULL;
  GPIO_InitStruct.Speed = GPIO_SPEED_FREQ_VERY_HIGH;
  GPIO_InitStruct.Alternate = GPIO_AF5_SPI2;
  HAL_GPIO_Init(PMOD_SPI2_SCK_GPIO_Port, &GPIO_InitStruct);

  /*Configure GPIO pins : PMOD_UART2_CTS_Pin PMOD_UART2_RTS_Pin PMOD_UART2_TX_Pin PMOD_UART2_RX_Pin */
  GPIO_InitStruct.Pin = PMOD_UART2_CTS_Pin|PMOD_UART2_RTS_Pin|PMOD_UART2_TX_Pin|PMOD_UART2_RX_Pin;
  GPIO_InitStruct.Mode = GPIO_MODE_AF_PP;
  GPIO_InitStruct.Pull = GPIO_NOPULL;
  GPIO_InitStruct.Speed = GPIO_SPEED_FREQ_VERY_HIGH;
  GPIO_InitStruct.Alternate = GPIO_AF7_USART2;
  HAL_GPIO_Init(GPIOD, &GPIO_InitStruct);

  /*Configure GPIO pins : ARD_D15_Pin ARD_D14_Pin */
  GPIO_InitStruct.Pin = ARD_D15_Pin|ARD_D14_Pin;
  GPIO_InitStruct.Mode = GPIO_MODE_AF_OD;
  GPIO_InitStruct.Pull = GPIO_NOPULL;
  GPIO_InitStruct.Speed = GPIO_SPEED_FREQ_VERY_HIGH;
  GPIO_InitStruct.Alternate = GPIO_AF4_I2C1;
  HAL_GPIO_Init(GPIOB, &GPIO_InitStruct);

  /* EXTI interrupt init*/
  HAL_NVIC_SetPriority(EXTI1_IRQn, 5, 0);
  HAL_NVIC_EnableIRQ(EXTI1_IRQn);

  HAL_NVIC_SetPriority(EXTI9_5_IRQn, 5, 0);
  HAL_NVIC_EnableIRQ(EXTI9_5_IRQn);

  HAL_NVIC_SetPriority(EXTI15_10_IRQn, 5, 0);
  HAL_NVIC_EnableIRQ(EXTI15_10_IRQn);

}

/* USER CODE BEGIN 4 */

int _write(int file, char *ptr, int len)
{
	int DataIdx;
	for(DataIdx=0; DataIdx<len; DataIdx++)
	{
		ITM_SendChar(*ptr++);
	}
	return len;
}

ACCELERO_StatusTypeDef BSP_ACCELERO_Init_INT(void)
{
	ACCELERO_StatusTypeDef ret;
	ret = BSP_ACCELERO_Init();
	if (ret == ACCELERO_OK)
	{
		/* Initialize interruption*/
		uint8_t tmp;
		tmp = SENSOR_IO_Read(LSM6DSL_ACC_GYRO_I2C_ADDRESS_LOW, LSM6DSL_ACC_GYRO_DRDY_PULSE_CFG_G);
		tmp |=0b10000000;
		SENSOR_IO_Write(LSM6DSL_ACC_GYRO_I2C_ADDRESS_LOW, LSM6DSL_ACC_GYRO_DRDY_PULSE_CFG_G, tmp);
		tmp = SENSOR_IO_Read(LSM6DSL_ACC_GYRO_I2C_ADDRESS_LOW, LSM6DSL_ACC_GYRO_INT1_CTRL);
		tmp |=0b00000001;
		SENSOR_IO_Write(LSM6DSL_ACC_GYRO_I2C_ADDRESS_LOW, LSM6DSL_ACC_GYRO_INT1_CTRL, tmp);
		tmp = SENSOR_IO_Read(LSM6DSL_ACC_GYRO_I2C_ADDRESS_LOW, LSM6DSL_ACC_GYRO_MASTER_CONFIG);
		tmp |=0b10000000;
		SENSOR_IO_Write(LSM6DSL_ACC_GYRO_I2C_ADDRESS_LOW, LSM6DSL_ACC_GYRO_MASTER_CONFIG, tmp);
	}
	return ret;
}

void HAL_UART_RxCpltCallback(UART_HandleTypeDef *huart)
{

	static osStatus_t estado;
	if (huart == &huart1)
	{
		HAL_UART_Receive_IT(&huart1,&rec_data,1);
		printf("Recibido: %d\r\n",rec_data);
		osThreadFlagsSet(tarea_UARTHandle,0x0002U);
		/*estado = osMessageQueuePut(receive_queueHandle, &rec_data,0,pdMS_TO_TICKS(200));
		if (estado == osOK)
			printf("Estado: ok\r\n");
		else
			printf("Algo no va bien\r\n");
			*/
	}
}

void HAL_GPIO_EXTI_Callback(uint16_t GPIO_Pin)
{
	switch (GPIO_Pin)
	{
		case (LSM6DSL_INT1_EXTI11_Pin):
		{
			osThreadFlagsSet(readAccelHandle,0x0001U);
			break;
		}
		case(BOTON_Pin):
		{
			printf("Ha pulsado el boton\r\n");
			osThreadFlagsSet(readAccelHandle,0x0002U);
			break;
		}
		case (GPIO_PIN_1):
		{
			SPI_WIFI_ISR();
			break;
		}
		default:
		{
		  break;
		}
	}
}

static int wifi_start(void)
{
  uint8_t  MAC_Addr[6];
  printf("wifistart\r\n");
 /*Initialize and use WIFI module */
  if(WIFI_Init() ==  WIFI_STATUS_OK)
  {
	printf("xddddddd\r\n");
    printf(("ES-WIFI Initialized.\r\n"));
    if(WIFI_GetMAC_Address(MAC_Addr) == WIFI_STATUS_OK)
    {
      printf("MAC asignada\r\n");
      printf("> eS-WiFi module MAC Address : %02X:%02X:%02X:%02X:%02X:%02X\r\n",
               MAC_Addr[0],
               MAC_Addr[1],
               MAC_Addr[2],
               MAC_Addr[3],
               MAC_Addr[4],
               MAC_Addr[5]);
    }
    else
    {
      printf("> ERROR : CANNOT get MAC address\r\n");
      return -1;
    }
  }
  else
  {
	printf("Errorfifi\r\n");
    return -1;
  }
  return 0;
}

int wifi_connect(void)
{

  wifi_start();

  printf("Connecting to %s\r\n",SSID);
  if( WIFI_Connect(SSID, PASSWORD, WIFISECURITY) == WIFI_STATUS_OK)
  {
    if(WIFI_GetIP_Address(IP_Addr) == WIFI_STATUS_OK)
    {
      printf("> es-wifi module connected: got IP Address : %d.%d.%d.%d\r\n",
               IP_Addr[0],
               IP_Addr[1],
               IP_Addr[2],
               IP_Addr[3]);
    }
    else
    {
		  printf(" ERROR : es-wifi module CANNOT get IP address\r\n");
      return -1;
    }
  }
  else
  {
		 printf("ERROR : es-wifi module NOT connected\n");
     return -1;
  }
  return 0;
}

/**
  * @brief  SPI3 line detection callback.
  * @param  None
  * @retval None
  */
void SPI3_IRQHandler(void)
{
  HAL_SPI_IRQHandler(&hspi);
}

/* USER CODE END 4 */

void RTC_set_func(void *argument)
{
  /* USER CODE BEGIN 5 */
	uint8_t recibido[3];
	//uint32_t flag_rec;
	osStatus_t estado;
	uint32_t return_wait = 0U;

	uint16_t num_usuario;
	uint8_t to_change[6];
	const char* msg_hora_ok = "\r\nHora cambiada correctamente\r\n";
	const char* msg_fecha_ok = "Fecha cambiada correctamente\r\n";
	const char* msg_error = "\r\nERROR: Valor no válido\r\n";
	const char* msg_rtc1 = "\r\n\r\n========================\r\n"
	"| Configurar rtc |\r\n"
	"========================\r\n\r\n";
	const char* msg[6] = {
	"Hora (0-23): ", "\r\nMinuto (0-59): ","\r\nSegundo (0-59): ","\r\nDía (1-31): ","\r\nMes (1-12): ",
	"\r\nAño (0-99): "};
	uint8_t limit[6][2] = {{0,23},{0,59},{0,59},{1,31},{1,12},{0,99}};
	//uint8_t *toChange[6] = {&GetTime.Hours, &GetTime.Minutes, &GetTime.Seconds, &GetDate.Date,&GetDate.Month, &GetDate.Year};

	printf("Empieza el bucle\r\n");
	estado = osMessageQueuePut(print_queueHandle, &msg_rtc1, 0, pdMS_TO_TICKS(500));
	int i,j = 0;
	for (i=0;i<6;){
		estado = osMessageQueuePut(print_queueHandle, &msg[i], 0, pdMS_TO_TICKS(500));
		printf("Esperando a que ser reciba el dato\r\n");

		for (j=0;j<3;j++){
			estado = osMessageQueueGet(receive_queueHandle, &recibido[j], NULL, osWaitForever);
			printf("De la cola: %c\r\n",recibido[j]);
			if(recibido[j]==13){
				printf("Ha pulsado intro\r\n");
				break;
			}
		}
		printf("%d\r\n",j);
		switch(j){
		case 0:
			num_usuario=0;
			break;
		case 1:
			num_usuario = recibido[0]-48;
			//i++;
			break;
		case 2:
			num_usuario = 10*(recibido[0]-48)+recibido[1]-48;
			//i++;
			break;
		case 3:
			num_usuario = 100*(recibido[0]-48)+10*(recibido[1]-48)+recibido[2]-48;
			break;
		}
		printf("Numero: %d\r\n",num_usuario);
		printf("Rango: %d-%d\r\n",limit[i][0],limit[i][1]);
		if (num_usuario<limit[i][0] || num_usuario>limit[i][1]){
			estado = osMessageQueuePut(print_queueHandle, &msg_error, 0, pdMS_TO_TICKS(500));
			if (estado == osOK)
				printf("Enviado valor erroneo\r\n");
			else
				printf("Algo no va bien\r\n");
		}else{
			to_change[i]=num_usuario;
			i++;
		}

	}

	RTC_TimeTypeDef sTime = {0};
	RTC_DateTypeDef sDate = {0};

	sTime.Hours = to_change[0];
	sTime.Minutes = to_change[1];
	sTime.Seconds = to_change[2];

	if (HAL_RTC_SetTime(&hrtc, &sTime, RTC_FORMAT_BIN) != HAL_OK)
	  {
	    Error_Handler();
	  }

	osMessageQueuePut(print_queueHandle, &msg_hora_ok, 0, pdMS_TO_TICKS(500));

	sDate.Date = to_change[3];
	sDate.Month = to_change[4];
	sDate.Year = to_change[5];
	printf("Anio: %d\r\n",to_change[5]);
	if (HAL_RTC_SetDate(&hrtc, &sDate, RTC_FORMAT_BIN) != HAL_OK)
	{
		Error_Handler();
	}

	osMessageQueuePut(print_queueHandle, &msg_fecha_ok, 0, pdMS_TO_TICKS(500));

	osThreadFlagsSet(wifiStartTaskHandle,0x0001U);

	//osThreadFlagsSet(readAccelHandle,0x0002U);

  /* Infinite loop */
  for(;;)
  {

	  osDelay(pdMS_TO_TICKS(1000));
  }
  /* USER CODE END 5 */
}

void readAccel_func(void *argument)
{
  /* USER CODE BEGIN readAccel_func */
	osStatus_t estado;
  //char mensaje[]  = "Hola mundo\r\n";
	char mensaje[100];
	char *p_mensaje = mensaje;

	//uint32_t nticks = 0;
	int16_t DataXYZ[3];
	int16_t *pDataXYZ = DataXYZ;

	uint8_t horas,minutos,segundos,dia,mes,anio = 0;
	uint32_t return_wait = 0U;

	uint16_t iter; // Se usa para iterar en 64 o 1024 aceleraciones
	uint16_t max_iter;

	printf("ReadAccel task esperando\r\n");
	// Esperamos que el usuario configure el RTC y que el acelerometro este activo
	return_wait = osThreadFlagsWait(0x0008U, osFlagsWaitAll, osWaitForever);

	//Activamos el temporizador
	osThreadFlagsSet(temporizadorHandle,0x0001U);

	printf("ReadAccel task se inicia\r\n");

	/*
	if (return_wait == osFlagsErrorTimeout)
	  printf("Tiempo agotadoM\r\n");
	else if(return_wait == 0x0001U)
	  printf("Recibido notificacion\r\n");
	  */

	/* Infinite loop */
	for(;;)
	{
		return_wait = osThreadFlagsWait(0x0006U, osFlagsWaitAny, osWaitForever); //espera media hora o que alguien pulse el boton
		if(return_wait == osFlagsErrorTimeout){
			printf("Ha pasado media hora\r\n");
		}
		else {
			printf("El usuario quiere enviar aceleraciones, modo continuo = %d\r\n",modo_continuo);
		}

		if (modo_continuo){
			max_iter = MUESTRAS_CONTINUO;
			osThreadFlagsSet(sendMQTTHandle,MODO_CONTINUO);
		}else{
			max_iter = MUESTRAS_NORMAL;
			osThreadFlagsSet(sendMQTTHandle,MODO_NORMAL);
		}

		for (iter=0 ; iter<max_iter ; iter++){
			BSP_ACCELERO_AccGetXYZ(pDataXYZ);
			//printf("Tick: %ld	Eje x: %d	Eje y: %d	Eje z: %d\r\n",nticks,DataXYZ[0],DataXYZ[1],DataXYZ[2]);

			//printf("Lectura accel realizada\r\n");
			HAL_RTC_GetTime(&hrtc, &GetTime, RTC_FORMAT_BIN);
			horas = GetTime.Hours;
			minutos = GetTime.Minutes;
			segundos = GetTime.Seconds;

			HAL_RTC_GetDate(&hrtc, &GetDate, RTC_FORMAT_BIN);
			anio = GetDate.Year;
			dia = GetDate.Date;
			mes = GetDate.Month;

			//printf("Anio: %d\r\n",anio);
			//printf("Lectura fecha realizada\r\n");
			//printf("fecha: %d/%d/%d hora: %d:%d:%d temp: %d.%02d grados\r\n",dia,mes,anio,horas,minutos,segundos,tmpInt1,tmpInt2);
			//snprintf(mensaje,100,"fecha: %d/%d/%d hora: %d:%d:%d Eje x: %d	Eje y: %d	Eje z: %d\r\n",dia,mes,anio+2000,horas,minutos,segundos,DataXYZ[0],DataXYZ[1],DataXYZ[2]);
			snprintf(mensaje,100,"%d,%d,%d,%d,%d,%d,%d,%d,%d\r\n",dia,mes,anio+2000,horas,minutos,segundos,DataXYZ[0],DataXYZ[1],DataXYZ[2]);

			//printf("MENSAJE: %s\r\n",mensaje);
			estado = osMessageQueuePut(print_queueHandle, &p_mensaje, 0, pdMS_TO_TICKS(500));
			/*if(estado == osOK){
				printf("Enviada a la cola\r\n");
			}
			else if(estado == osErrorTimeout){
				printf("Timeout agotado 1\r\n");
			}*/

		}

		printf("Se han leido todas las aceleraciones, esperamos media hora o hasta que alguien pulse el boton\r\n");

		//osDelay(pdMS_TO_TICKS(1000));

	}
  /* USER CODE END readAccel_func */
}

void printTask_func(void *argument)
{
  /* USER CODE BEGIN printTask_func */
	uintptr_t mensaje;
	osStatus_t estado;
  /* Infinite loop */
  for(;;)
  {
	  estado = osMessageQueueGet(print_queueHandle, &mensaje, NULL, osWaitForever);
	  //printf("Se ha recibido algo en print task\r\n");
	  //printf("Mensaje print task: %s\r\n",mensaje);
	  //printf("Longitud: %d",strlen((char*)mensaje));
	  if (estado == osOK)
	  {
		  //printf("%s",(char*)mensaje);
		  HAL_UART_Transmit(&huart1, (uint8_t*)mensaje, strlen(mensaje),10);
	  }
	  else if (estado == osErrorTimeout)
	  {
		  printf("Timeout printTask\r\n");
	  }
	  else
	  {
		  printf("Error en la tarea print\r\n");
	  }

	  //osDelay(pdMS_TO_TICKS(3000));

  }
  /* USER CODE END printTask_func */
}

void tarea_UART_func(void *argument)
{
  /* USER CODE BEGIN tarea_UART_func */
	osStatus_t estado;
	uint32_t return_wait = 0U;
  /* Infinite loop */
  for(;;)
  {
	  return_wait = osThreadFlagsWait(0x0002U, osFlagsWaitAny, osWaitForever);
	  estado = osMessageQueuePut(receive_queueHandle, &rec_data,0,pdMS_TO_TICKS(200));
	  if (estado == osOK)
		  printf("Estado: ok\r\n");
	  else
		  printf("Algo no va bien\r\n");

  }
  /* USER CODE END tarea_UART_func */
}

void temporizador_func(void *argument)
{
  /* USER CODE BEGIN temporizador_func */
	osThreadFlagsWait(0x0001U, osFlagsWaitAll, osWaitForever);
	printf("Temporizador activado\r\n");
  /* Infinite loop */
  for(;;)
  {
    osDelay(pdMS_TO_TICKS(1000000)); //Periodo en ms con el que se mandan las aceleraciones
    osThreadFlagsSet(readAccelHandle,0x0004U);
  }
  /* USER CODE END temporizador_func */
}

void sendMQTT_func(void *argument)
{
  /* USER CODE BEGIN sendMQTT_func */
	uint32_t return_wait = 0U;
	osStatus_t estado;
	uintptr_t mensaje;

	uint16_t iter;
	uint16_t max_iter;

	char payLoad[16];

	osThreadFlagsWait(0x0001U, osFlagsWaitAny, osWaitForever);

	const uint32_t ulMaxPublishCount = 5UL;
	NetworkContext_t xNetworkContext = { 0 };
	MQTTContext_t xMQTTContext;
	MQTTStatus_t xMQTTStatus;
	TransportStatus_t xNetworkStatus;

	/* Attempt to connect to the MQTT broker. The socket is returned in
	* the network context structure. */
	xNetworkStatus = prvConnectToServer( &xNetworkContext, SOCKET );
	printf("Mitad de la definicion mqtt\r\n");
	configASSERT( xNetworkStatus == PLAINTEXT_TRANSPORT_SUCCESS );
	//LOG(("Trying to create an MQTT connection\n"));
	prvCreateMQTTConnectionWithBroker( &xMQTTContext, &xNetworkContext );
	prvMQTTSubscribeToTopic(&xMQTTContext,pcTempTopic2);
	printf("Contexto mqtt inicializado\r\n");

	osThreadFlagsSet(readAccelHandle,0x0008U);
	osThreadFlagsSet(temp_subHandle, 0x0001U);

  /* Infinite loop */
  for(;;)
  {
	  return_wait = osThreadFlagsWait(MODO_NORMAL | MODO_CONTINUO | TIMER_MQTT, osFlagsWaitAny, osWaitForever);

	  if (return_wait == TIMER_MQTT){
		  MQTT_ProcessLoop(&xMQTTContext);
	  }else{
		  if(return_wait == MODO_NORMAL){
			  printf("Vamos a recibir 64 aceleraciones\r\n");
			  max_iter = MUESTRAS_NORMAL;

		  }
		  else if(return_wait == MODO_CONTINUO){
			  printf("Vamos a recibir 1024 aceleraciones\r\n");
			  max_iter = MUESTRAS_CONTINUO;
		  }
		  for (iter=0;iter<max_iter;iter++){
			  estado = osMessageQueueGet(print_queueHandle, &mensaje, NULL, osWaitForever);

			  if (estado == osOK)
			  {
				  //printf("%s",(char*)mensaje);
				  //HAL_UART_Transmit(&huart1, (uint8_t*)mensaje, strlen(mensaje),10);
				  sprintf(payLoad,"%s",mensaje);
				  prvMQTTPublishToTopic(&xMQTTContext,pcTempTopic,payLoad);
			  }
		  }

		  //printf("Espacio en la cola: %d\r\n",osMessageQueueGetSpace(print_queueHandle));
	  }

  }
  /* USER CODE END sendMQTT_func */
}

void wifiStartTask_func(void *argument)
{
  /* USER CODE BEGIN wifiStartTask_func */
	osThreadFlagsWait(0x0001U, osFlagsWaitAny, osWaitForever);

	wifi_connect();
//	MQTT_context_Init();

	//Terminamos las tarea de configuracion del RTC
	osThreadTerminate(RTC_setHandle);
	osThreadTerminate(printTaskHandle);
	osMessageQueueReset(print_queueHandle);
	osMessageQueueDelete(receive_queueHandle);

//	osThreadFlagsSet(mqttSubscribeHandle,0x0001U);
	osThreadFlagsSet(sendMQTTHandle,0x0001U);
//	osThreadFlagsSet(readAccelHandle,0x0002U);

  /* Infinite loop */
  for(;;)
  {
	  osDelay(pdMS_TO_TICKS(1));
  }
  /* USER CODE END wifiStartTask_func */
}

void temp_sub_func(void *argument)
{
  /* USER CODE BEGIN temp_sub_func */
	osThreadFlagsWait(0x0001U, osFlagsWaitAny, osWaitForever);
  /* Infinite loop */
  for(;;)
  {
    osDelay(pdMS_TO_TICKS(15000));
    osThreadFlagsSet(sendMQTTHandle, TIMER_MQTT);
  }
  /* USER CODE END temp_sub_func */
}

void HAL_TIM_PeriodElapsedCallback(TIM_HandleTypeDef *htim)
{
  if (htim->Instance == TIM6) {
    HAL_IncTick();
  }
}

void Error_Handler(void)
{
  __disable_irq();
  while (1)
  {
  }
}
